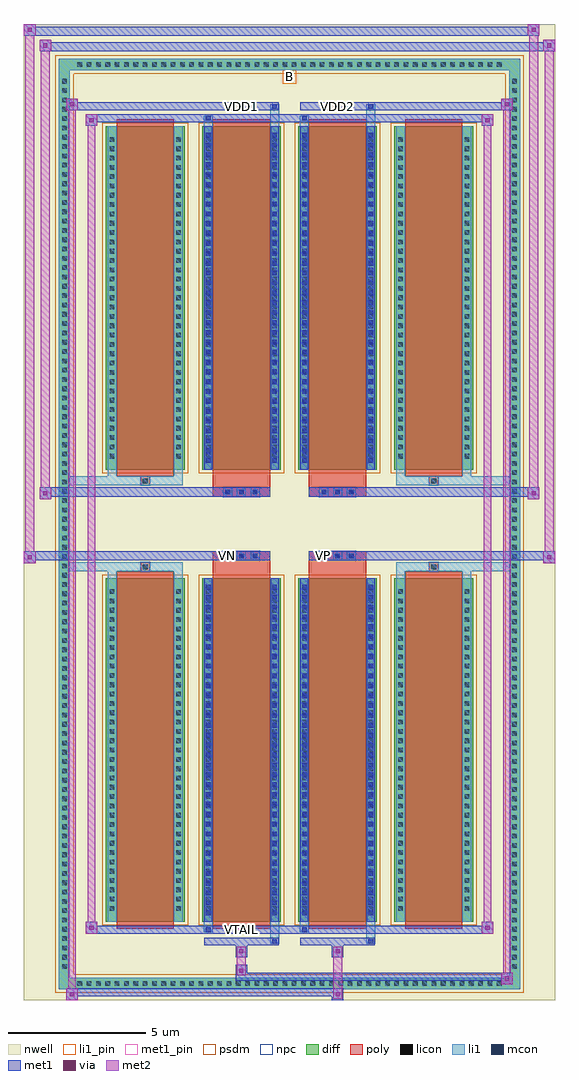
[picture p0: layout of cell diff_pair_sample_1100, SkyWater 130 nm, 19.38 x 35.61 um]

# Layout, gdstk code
import gdstk
lib = gdstk.Library(unit=1e-6, precision=5e-09)
def R(c, l, rs):  # rectangles x0, y0, x1, y1
    for r in rs: c.add(gdstk.rectangle(r[:2], r[2:], *l))
def A(c, l, x, y, w, h, nx, ny, dx, dy):  # array of equal rectangles
    R(c, l, [(x+i*dx, y+j*dy, x+i*dx+w, y+j*dy+h) for i in range(nx) for j in range(ny)])
def P(c, l, *ps):  # polygons
    for p in ps: c.add(gdstk.Polygon(p, *l))
nwell = (64, 20)
diff = (65, 20)
poly = (66, 20)
licon = (66, 44)
li1_pin = (67, 16)
li1 = (67, 20)
mcon = (67, 44)
met1_pin = (68, 16)
met1 = (68, 20)
via = (68, 44)
met2 = (69, 20)
psdm = (94, 20)
npc = (95, 20)

diff_pair_sample_1100 = lib.new_cell('diff_pair_sample_1100')
R(diff_pair_sample_1100, nwell, [(-9.69,-17.37,9.69,18.24), (-7.01,-15.56,-0.01,-0.8), (0.01,-15.56,7.01,-0.8), (-7.01,0.8,-0.01,15.56), (0.01,0.8,7.01,15.56)])
A(diff_pair_sample_1100, diff, -7.855, -16.97, 0.41, 0.41, 46, 2, 0.34, 33.53)
A(diff_pair_sample_1100, diff, -8.42, -16.355, 0.41, 0.41, 1, 96, 0, 0.34)
A(diff_pair_sample_1100, diff, 8.01, -16.355, 0.41, 0.41, 1, 96, 0, 0.34)
A(diff_pair_sample_1100, diff, -6.7, -14.515, 2.87, 12.53, 4, 2, 3.51, 16.5)
R(diff_pair_sample_1100, diff, [(-7.855,-16.97,7.855,-16.56), (-8.42,-16.355,-8.01,16.355), (8.01,-16.355,8.42,16.355), (-7.855,16.56,7.855,16.97)])
P(diff_pair_sample_1100, diff, [(8.42,16.97),(-8.42,16.97),(-8.42,-16.56),(-8.01,-16.56),(-8.01,16.56),(8.01,16.56),(8.01,-16.56),(-8.01,-16.56),(-8.42,-16.56),(-8.42,-16.97),(8.42,-16.97)])
A(diff_pair_sample_1100, poly, -6.31, -14.765, 2.09, 13.03, 4, 2, 3.51, 16.5)
A(diff_pair_sample_1100, poly, -2.42, -1.33, 0.33, 0.33, 3, 2, 0.5, 2.33)
A(diff_pair_sample_1100, poly, 1.09, -1.33, 0.33, 0.33, 3, 2, 0.5, 2.33)
R(diff_pair_sample_1100, poly, [(-5.43,-1.735,-5.1,-1.405), (-5.43,-1.735,-5.1,-1.405), (-2.8,-1.735,-0.71,-1.33), (0.71,-1.735,2.8,-1.33), (5.1,-1.735,5.43,-1.405), (5.1,-1.735,5.43,-1.405), (-2.8,-1.33,-0.71,-1), (0.71,-1.33,2.8,-1), (-2.8,1,-0.71,1.33), (0.71,1,2.8,1.33), (-2.8,1.33,-0.71,1.735), (0.71,1.33,2.8,1.735), (-5.43,1.405,-5.1,1.735), (-5.43,1.405,-5.1,1.735), (5.1,1.405,5.43,1.735), (5.1,1.405,5.43,1.735)])
A(diff_pair_sample_1100, licon, -7.735, -16.85, 0.17, 0.17, 46, 2, 0.34, 33.53)
A(diff_pair_sample_1100, licon, -8.3, -16.235, 0.17, 0.17, 1, 96, 0, 0.34)
A(diff_pair_sample_1100, licon, 8.13, -16.235, 0.17, 0.17, 1, 96, 0, 0.34)
A(diff_pair_sample_1100, licon, -6.56, -14.115, 0.17, 0.17, 1, 35, 0, 0.34)
A(diff_pair_sample_1100, licon, -4.14, -14.115, 0.17, 0.17, 1, 35, 0, 0.34)
A(diff_pair_sample_1100, licon, -3.05, -14.115, 0.17, 0.17, 1, 35, 0, 0.34)
A(diff_pair_sample_1100, licon, -0.63, -14.115, 0.17, 0.17, 1, 35, 0, 0.34)
A(diff_pair_sample_1100, licon, 0.46, -14.115, 0.17, 0.17, 1, 35, 0, 0.34)
A(diff_pair_sample_1100, licon, 2.88, -14.115, 0.17, 0.17, 1, 35, 0, 0.34)
A(diff_pair_sample_1100, licon, 3.97, -14.115, 0.17, 0.17, 1, 35, 0, 0.34)
A(diff_pair_sample_1100, licon, 6.39, -14.115, 0.17, 0.17, 1, 35, 0, 0.34)
A(diff_pair_sample_1100, licon, -2.34, -1.25, 0.17, 0.17, 3, 2, 0.5, 2.33)
A(diff_pair_sample_1100, licon, 1.17, -1.25, 0.17, 0.17, 3, 2, 0.5, 2.33)
A(diff_pair_sample_1100, licon, -6.56, 2.385, 0.17, 0.17, 1, 35, 0, 0.34)
A(diff_pair_sample_1100, licon, -4.14, 2.385, 0.17, 0.17, 1, 35, 0, 0.34)
A(diff_pair_sample_1100, licon, -3.05, 2.385, 0.17, 0.17, 1, 35, 0, 0.34)
A(diff_pair_sample_1100, licon, -0.63, 2.385, 0.17, 0.17, 1, 35, 0, 0.34)
A(diff_pair_sample_1100, licon, 0.46, 2.385, 0.17, 0.17, 1, 35, 0, 0.34)
A(diff_pair_sample_1100, licon, 2.88, 2.385, 0.17, 0.17, 1, 35, 0, 0.34)
A(diff_pair_sample_1100, licon, 3.97, 2.385, 0.17, 0.17, 1, 35, 0, 0.34)
A(diff_pair_sample_1100, licon, 6.39, 2.385, 0.17, 0.17, 1, 35, 0, 0.34)
R(diff_pair_sample_1100, licon, [(-5.35,-1.655,-5.18,-1.485), (5.18,-1.655,5.35,-1.485), (-5.35,1.485,-5.18,1.655), (5.18,1.485,5.35,1.655)])
R(diff_pair_sample_1100, li1_pin, [(-0.25,16.06,0.25,16.56)])
A(diff_pair_sample_1100, li1, -7.815, -16.93, 0.33, 0.33, 46, 2, 0.34, 33.53)
A(diff_pair_sample_1100, li1, -8.38, -16.315, 0.33, 0.33, 1, 96, 0, 0.34)
A(diff_pair_sample_1100, li1, 8.05, -16.315, 0.33, 0.33, 1, 96, 0, 0.34)
A(diff_pair_sample_1100, li1, -3.05, -14.275, 0.17, 0.17, 1, 34, 0, 0.36)
A(diff_pair_sample_1100, li1, -0.63, -14.275, 0.17, 0.17, 1, 34, 0, 0.36)
A(diff_pair_sample_1100, li1, 0.46, -14.275, 0.17, 0.17, 1, 34, 0, 0.36)
A(diff_pair_sample_1100, li1, 2.88, -14.275, 0.17, 0.17, 1, 34, 0, 0.36)
A(diff_pair_sample_1100, li1, -6.64, -14.195, 0.33, 0.33, 1, 35, 0, 0.34)
A(diff_pair_sample_1100, li1, -4.22, -14.195, 0.33, 0.33, 1, 35, 0, 0.34)
A(diff_pair_sample_1100, li1, -3.13, -14.195, 0.33, 0.33, 1, 35, 0, 0.34)
A(diff_pair_sample_1100, li1, -0.71, -14.195, 0.33, 0.33, 1, 35, 0, 0.34)
A(diff_pair_sample_1100, li1, 0.38, -14.195, 0.33, 0.33, 1, 35, 0, 0.34)
A(diff_pair_sample_1100, li1, 2.8, -14.195, 0.33, 0.33, 1, 35, 0, 0.34)
A(diff_pair_sample_1100, li1, 3.89, -14.195, 0.33, 0.33, 1, 35, 0, 0.34)
A(diff_pair_sample_1100, li1, 6.31, -14.195, 0.33, 0.33, 1, 35, 0, 0.34)
A(diff_pair_sample_1100, li1, -2.42, -1.33, 0.33, 0.33, 3, 2, 0.5, 2.33)
A(diff_pair_sample_1100, li1, 1.09, -1.33, 0.33, 0.33, 3, 2, 0.5, 2.33)
A(diff_pair_sample_1100, li1, -3.05, 2.225, 0.17, 0.17, 1, 34, 0, 0.36)
A(diff_pair_sample_1100, li1, -0.63, 2.225, 0.17, 0.17, 1, 34, 0, 0.36)
A(diff_pair_sample_1100, li1, 0.46, 2.225, 0.17, 0.17, 1, 34, 0, 0.36)
A(diff_pair_sample_1100, li1, 2.88, 2.225, 0.17, 0.17, 1, 34, 0, 0.36)
A(diff_pair_sample_1100, li1, -6.64, 2.305, 0.33, 0.33, 1, 35, 0, 0.34)
A(diff_pair_sample_1100, li1, -4.22, 2.305, 0.33, 0.33, 1, 35, 0, 0.34)
A(diff_pair_sample_1100, li1, -3.13, 2.305, 0.33, 0.33, 1, 35, 0, 0.34)
A(diff_pair_sample_1100, li1, -0.71, 2.305, 0.33, 0.33, 1, 35, 0, 0.34)
A(diff_pair_sample_1100, li1, 0.38, 2.305, 0.33, 0.33, 1, 35, 0, 0.34)
A(diff_pair_sample_1100, li1, 2.8, 2.305, 0.33, 0.33, 1, 35, 0, 0.34)
A(diff_pair_sample_1100, li1, 3.89, 2.305, 0.33, 0.33, 1, 35, 0, 0.34)
A(diff_pair_sample_1100, li1, 6.31, 2.305, 0.33, 0.33, 1, 35, 0, 0.34)
R(diff_pair_sample_1100, li1, [(-8.42,-16.97,-8.01,-16.56), (-8.42,-16.97,-8.01,-16.56), (-8.01,-16.97,8.01,-16.56), (8.01,-16.97,8.42,-16.56), (8.01,-16.97,8.42,-16.56), (-8.42,-16.56,-8.01,16.56), (8.01,-16.56,8.42,16.56), (-0.71,-15.32,-0.38,-14.515), (-0.63,-15.32,-0.46,-15.15), (2.8,-15.32,3.13,-14.515), (2.88,-15.32,3.05,-15.15), (-3.13,-14.89,-2.8,-14.515), (-3.05,-14.89,-2.88,-14.72), (0.38,-14.89,0.71,-14.515), (0.46,-14.89,0.63,-14.72), (-6.64,-14.515,-6.31,-1.985), (-4.22,-14.515,-3.89,-1.985), (-3.13,-14.515,-2.8,-1.985), (-0.71,-14.515,-0.38,-1.985), (0.38,-14.515,0.71,-1.985), (2.8,-14.515,3.13,-1.985), (3.89,-14.515,4.22,-1.985), (6.31,-14.515,6.64,-1.985), (-3.05,-14.275,-2.88,-2.225), (-0.63,-14.275,-0.46,-2.225), (0.46,-14.275,0.63,-2.225), (2.88,-14.275,3.05,-2.225), (-6.64,-1.985,-6.31,-1.405), (-4.22,-1.985,-3.89,-1.405), (3.89,-1.985,4.22,-1.405), (6.31,-1.985,6.64,-1.405), (-8.42,-1.735,-5.43,-1.405), (-6.64,-1.735,-5.43,-1.405), (-5.43,-1.735,-5.1,-1.405), (-5.1,-1.735,-3.89,-1.405), (3.89,-1.735,5.1,-1.405), (5.1,-1.735,5.43,-1.405), (5.1,-1.735,8.42,-1.405), (5.43,-1.735,6.64,-1.405), (-8.42,1.405,-5.43,1.735), (-6.64,1.405,-5.43,1.735), (-6.64,1.405,-6.31,1.985), (-5.43,1.405,-5.1,1.735), (-5.1,1.405,-3.89,1.735), (-4.22,1.405,-3.89,1.985), (3.89,1.405,5.1,1.735), (3.89,1.405,4.22,1.985), (5.1,1.405,5.43,1.735), (5.1,1.405,8.42,1.735), (5.43,1.405,6.64,1.735), (6.31,1.405,6.64,1.985), (-6.64,1.985,-6.31,14.515), (-4.22,1.985,-3.89,14.515), (-3.13,1.985,-2.8,14.515), (-0.71,1.985,-0.38,14.515), (0.38,1.985,0.71,14.515), (2.8,1.985,3.13,14.515), (3.89,1.985,4.22,14.515), (6.31,1.985,6.64,14.515), (-3.05,2.225,-2.88,14.275), (-0.63,2.225,-0.46,14.275), (0.46,2.225,0.63,14.275), (2.88,2.225,3.05,14.275), (-3.13,14.515,-2.8,14.89), (-0.71,14.515,-0.38,15.32), (0.38,14.515,0.71,14.89), (2.8,14.515,3.13,15.32), (-3.05,14.72,-2.88,14.89), (0.46,14.72,0.63,14.89), (-0.63,15.15,-0.46,15.32), (2.88,15.15,3.05,15.32), (-8.42,16.56,-8.01,16.97), (-8.42,16.56,-8.01,16.97), (-8.01,16.56,8.01,16.97), (8.01,16.56,8.42,16.97), (8.01,16.56,8.42,16.97)])
A(diff_pair_sample_1100, mcon, -3.05, -14.275, 0.17, 0.17, 1, 34, 0, 0.36)
A(diff_pair_sample_1100, mcon, -0.63, -14.275, 0.17, 0.17, 1, 34, 0, 0.36)
A(diff_pair_sample_1100, mcon, 0.46, -14.275, 0.17, 0.17, 1, 34, 0, 0.36)
A(diff_pair_sample_1100, mcon, 2.88, -14.275, 0.17, 0.17, 1, 34, 0, 0.36)
A(diff_pair_sample_1100, mcon, -2.34, -1.25, 0.17, 0.17, 3, 2, 0.5, 2.33)
A(diff_pair_sample_1100, mcon, 1.17, -1.25, 0.17, 0.17, 3, 2, 0.5, 2.33)
A(diff_pair_sample_1100, mcon, -3.05, 2.225, 0.17, 0.17, 1, 34, 0, 0.36)
A(diff_pair_sample_1100, mcon, -0.63, 2.225, 0.17, 0.17, 1, 34, 0, 0.36)
A(diff_pair_sample_1100, mcon, 0.46, 2.225, 0.17, 0.17, 1, 34, 0, 0.36)
A(diff_pair_sample_1100, mcon, 2.88, 2.225, 0.17, 0.17, 1, 34, 0, 0.36)
R(diff_pair_sample_1100, mcon, [(-0.63,-15.32,-0.46,-15.15), (2.88,-15.32,3.05,-15.15), (-3.05,-14.89,-2.88,-14.72), (0.46,-14.89,0.63,-14.72), (-3.05,14.72,-2.88,14.89), (0.46,14.72,0.63,14.89), (-0.63,15.15,-0.46,15.32), (2.88,15.15,3.05,15.32)])
R(diff_pair_sample_1100, met1_pin, [(-1.89,-14.93,-1.62,-14.66), (-2.39,-1.29,-2.12,-1.02), (1.12,-1.29,1.39,-1.02), (-1.89,15.11,-1.62,15.38), (1.62,15.11,1.89,15.38)])
A(diff_pair_sample_1100, met1, -3.11, -14.335, 0.29, 0.29, 1, 34, 0, 0.36)
A(diff_pair_sample_1100, met1, -0.69, -14.335, 0.29, 0.29, 1, 34, 0, 0.36)
A(diff_pair_sample_1100, met1, 0.4, -14.335, 0.29, 0.29, 1, 34, 0, 0.36)
A(diff_pair_sample_1100, met1, 2.82, -14.335, 0.29, 0.29, 1, 34, 0, 0.36)
A(diff_pair_sample_1100, met1, -2.4, -1.31, 0.29, 0.29, 3, 2, 0.5, 2.33)
A(diff_pair_sample_1100, met1, 1.11, -1.31, 0.29, 0.29, 3, 2, 0.5, 2.33)
A(diff_pair_sample_1100, met1, -3.11, 2.165, 0.29, 0.29, 1, 34, 0, 0.36)
A(diff_pair_sample_1100, met1, -0.69, 2.165, 0.29, 0.29, 1, 34, 0, 0.36)
A(diff_pair_sample_1100, met1, 0.4, 2.165, 0.29, 0.29, 1, 34, 0, 0.36)
A(diff_pair_sample_1100, met1, 2.82, 2.165, 0.29, 0.29, 1, 34, 0, 0.36)
R(diff_pair_sample_1100, met1, [(-8.15,-17.37,-7.72,-16.94), (1.54,-17.37,1.97,-16.94), (-8.15,-17.23,1.97,-16.94), (7.72,-16.8,8.15,-16.37), (-1.97,-16.66,8.15,-16.37), (-1.97,-16.52,-1.54,-16.09), (-1.97,-15.81,-1.54,-15.38), (1.54,-15.81,1.97,-15.38), (-3.11,-15.38,-0.4,-15.09), (-0.69,-15.38,-0.4,-15.09), (0.4,-15.38,3.11,-15.09), (2.82,-15.38,3.11,-15.09), (-7.44,-14.95,-7.01,-14.52), (-7.44,-14.95,-3.11,-14.66), (-3.11,-14.95,-2.82,-14.66), (-3.11,-14.95,-0.4,-14.66), (-0.4,-14.95,0.4,-14.66), (0.4,-14.95,0.69,-14.66), (0.4,-14.95,3.11,-14.66), (3.11,-14.95,7.44,-14.66), (7.01,-14.95,7.44,-14.52), (-3.11,-14.515,-2.82,-1.985), (-0.69,-14.515,-0.4,-1.985), (0.4,-14.515,0.69,-1.985), (2.82,-14.515,3.11,-1.985), (-9.69,-1.43,-9.26,-1), (9.26,-1.43,9.69,-1), (-9.69,-1.33,-0.71,-1), (-2.8,-1.33,-0.71,-1), (0.71,-1.33,2.8,-1), (0.71,-1.33,9.69,-1), (-9.12,0.9,-8.69,1.33), (8.69,0.9,9.12,1.33), (-9.12,1,-2.8,1.33), (-2.8,1,-0.71,1.33), (0.71,1,2.8,1.33), (2.8,1,9.12,1.33), (-3.11,1.985,-2.82,14.515), (-0.69,1.985,-0.4,14.515), (0.4,1.985,0.69,14.515), (2.82,1.985,3.11,14.515), (-7.44,14.52,-7.01,14.95), (7.01,14.52,7.44,14.95), (-7.44,14.66,-3.11,14.95), (-3.11,14.66,-2.82,14.95), (-3.11,14.66,-0.4,14.95), (-0.4,14.66,0.4,14.95), (0.4,14.66,0.69,14.95), (0.4,14.66,3.11,14.95), (3.11,14.66,7.44,14.95), (-8.15,15.09,-7.72,15.52), (-8.15,15.09,-3.11,15.38), (-3.11,15.09,-0.4,15.38), (-0.69,15.09,-0.4,15.38), (0.4,15.09,3.11,15.38), (2.82,15.09,3.11,15.38), (3.11,15.09,8.15,15.38), (7.72,15.09,8.15,15.52), (-9.12,17.24,-8.69,17.67), (-9.12,17.24,-7.01,17.57), (-7.01,17.24,7.01,17.57), (7.01,17.24,9.69,17.57), (9.26,17.24,9.69,17.67), (-9.69,17.81,-9.26,18.24), (-9.69,17.81,-7.01,18.14), (-7.01,17.81,7.01,18.14), (7.01,17.81,9.12,18.14), (8.69,17.81,9.12,18.24)])
R(diff_pair_sample_1100, via, [(-8.01,-17.23,-7.86,-17.08), (1.68,-17.23,1.83,-17.08), (7.86,-16.66,8.01,-16.51), (-1.83,-16.38,-1.68,-16.23), (-1.83,-15.67,-1.68,-15.52), (1.68,-15.67,1.83,-15.52), (-7.3,-14.81,-7.15,-14.66), (7.15,-14.81,7.3,-14.66), (-9.55,-1.29,-9.4,-1.14), (9.4,-1.29,9.55,-1.14), (-8.98,1.04,-8.83,1.19), (8.83,1.04,8.98,1.19), (-7.3,14.66,-7.15,14.81), (7.15,14.66,7.3,14.81), (-8.01,15.23,-7.86,15.38), (7.86,15.23,8.01,15.38), (-8.98,17.38,-8.83,17.53), (9.4,17.38,9.55,17.53), (-9.55,17.95,-9.4,18.1), (8.83,17.95,8.98,18.1)])
R(diff_pair_sample_1100, met2, [(-8.15,-17.37,-7.72,-16.94), (-8.08,-17.37,-7.79,15.52), (-7.79,-17.37,-7.72,-16.94), (-8.1,-17.32,-7.77,-16.99), (1.59,-17.32,1.92,-16.99), (1.59,-16.99,1.92,-15.76), (7.72,-16.8,8.15,-16.37), (7.79,-16.8,8.08,15.52), (8.08,-16.8,8.15,-16.37), (7.77,-16.75,8.1,-16.42), (-1.92,-16.47,-1.59,-16.14), (-1.92,-16.14,-1.59,-15.76), (-1.92,-15.76,-1.59,-15.43), (1.59,-15.76,1.92,-15.43), (-7.44,-14.95,-7.01,-14.52), (-7.37,-14.95,-7.08,14.95), (-7.08,-14.95,-7.01,-14.52), (7.01,-14.95,7.44,-14.52), (7.08,-14.95,7.37,14.95), (7.37,-14.95,7.44,-14.52), (-7.39,-14.9,-7.06,-14.57), (7.06,-14.9,7.39,-14.57), (-9.69,-1.43,-9.26,-1), (-9.64,-1.43,-9.31,18.24), (-9.31,-1.43,-9.26,-1), (9.26,-1.43,9.69,-1), (9.31,-1.43,9.64,17.67), (9.64,-1.43,9.69,-1), (-9.64,-1.38,-9.31,-1.05), (9.31,-1.38,9.64,-1.05), (-9.12,0.9,-8.69,1.33), (-9.07,0.9,-8.74,17.67), (-8.74,0.9,-8.69,1.33), (8.69,0.9,9.12,1.33), (8.74,0.9,9.07,18.24), (9.07,0.9,9.12,1.33), (-9.07,0.95,-8.74,1.28), (8.74,0.95,9.07,1.28), (-7.44,14.52,-7.01,14.95), (-7.08,14.52,-7.01,14.95), (7.01,14.52,7.44,14.95), (7.37,14.52,7.44,14.95), (-7.39,14.57,-7.06,14.9), (7.06,14.57,7.39,14.9), (-8.15,15.09,-7.72,15.52), (-7.79,15.09,-7.72,15.52), (7.72,15.09,8.15,15.52), (8.08,15.09,8.15,15.52), (-8.1,15.14,-7.77,15.47), (7.77,15.14,8.1,15.47), (-9.12,17.24,-8.69,17.67), (-8.74,17.24,-8.69,17.67), (9.26,17.24,9.69,17.67), (9.64,17.24,9.69,17.67), (-9.07,17.29,-8.74,17.62), (9.31,17.29,9.64,17.62), (-9.69,17.81,-9.26,18.24), (-9.31,17.81,-9.26,18.24), (8.69,17.81,9.12,18.24), (9.07,17.81,9.12,18.24), (-9.64,17.86,-9.31,18.19), (8.74,17.86,9.07,18.19)])
A(diff_pair_sample_1100, psdm, -6.83, -14.645, 3.13, 12.79, 4, 2, 3.51, 16.5)
P(diff_pair_sample_1100, psdm, [(8.55,17.1),(-8.55,17.1),(-8.55,-16.43),(-7.88,-16.43),(-7.88,16.43),(7.88,16.43),(7.88,-16.43),(-7.88,-16.43),(-8.55,-16.43),(-8.55,-17.1),(8.55,-17.1)])
A(diff_pair_sample_1100, npc, -2.44, -1.35, 0.37, 0.37, 3, 2, 0.5, 2.33)
A(diff_pair_sample_1100, npc, 1.07, -1.35, 0.37, 0.37, 3, 2, 0.5, 2.33)
R(diff_pair_sample_1100, npc, [(-5.45,-1.755,-5.08,-1.385), (5.08,-1.755,5.45,-1.385), (-2.44,-1.35,-1.57,-0.98), (-2.44,-1.35,-1.57,-0.98), (-1.94,-1.35,-1.07,-0.98), (-1.94,-1.35,-1.07,-0.98), (1.07,-1.35,1.94,-0.98), (1.07,-1.35,1.94,-0.98), (1.57,-1.35,2.44,-0.98), (1.57,-1.35,2.44,-0.98), (-2.44,0.98,-1.57,1.35), (-2.44,0.98,-1.57,1.35), (-1.94,0.98,-1.07,1.35), (-1.94,0.98,-1.07,1.35), (1.07,0.98,1.94,1.35), (1.07,0.98,1.94,1.35), (1.57,0.98,2.44,1.35), (1.57,0.98,2.44,1.35), (-5.45,1.385,-5.08,1.755), (5.08,1.385,5.45,1.755)])
diff_pair_sample_1100.add(gdstk.Label('VTAIL', (-1.755,-14.795), layer=68, texttype=5))
diff_pair_sample_1100.add(gdstk.Label('VN', (-2.255,-1.155), layer=68, texttype=5))
diff_pair_sample_1100.add(gdstk.Label('VP', (1.255,-1.155), layer=68, texttype=5))
diff_pair_sample_1100.add(gdstk.Label('B', (0,16.31), layer=67, texttype=5))
diff_pair_sample_1100.add(gdstk.Label('VDD2', (1.755,15.245), layer=68, texttype=5))
diff_pair_sample_1100.add(gdstk.Label('VDD1', (-1.755,15.245), layer=68, texttype=5))

lib.write_gds('diff_pair_sample_1100.gds')
